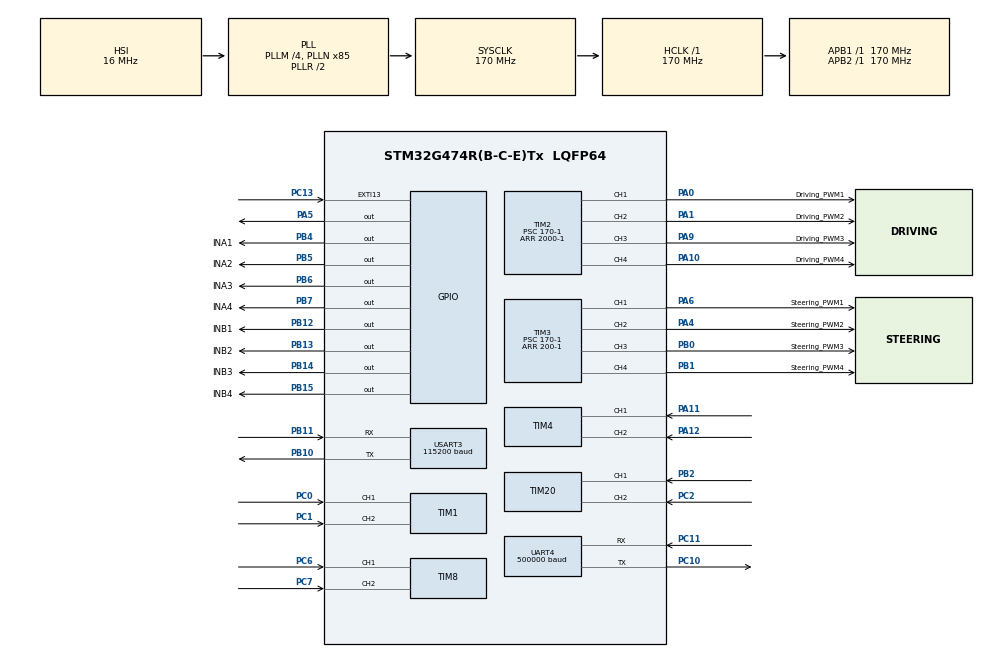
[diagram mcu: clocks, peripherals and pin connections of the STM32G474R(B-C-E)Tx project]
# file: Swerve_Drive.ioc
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Mcu.Family=STM32G4
Mcu.Name=STM32G474R(B-C-E)Tx
Mcu.Package=LQFP64
NUCLEO-G474RE.BUTTON=1
NUCLEO-G474RE.Bsp_Common_DEMO=true
NUCLEO-G474RE.LD2=true
NUCLEO-G474RE.VCP=true
NVIC.EXTI15_10_IRQn=true\:0\:0\:false\:false\:true\:true\:true\:true
NVIC.PriorityGroup=NVIC_PRIORITYGROUP_4
PA0.GPIO_Label=Driving_PWM1
PA0.Signal=S_TIM2_CH1
PA1.GPIO_Label=Driving_PWM2
PA1.Signal=S_TIM2_CH2
PA10.GPIO_Label=Driving_PWM4
PA10.Signal=S_TIM2_CH4
PA11.Signal=S_TIM4_CH1
PA12.Signal=S_TIM4_CH2
PA13.GPIO_Label=T_SWDIO
PA13.Signal=SYS_JTMS-SWDIO
PA14.GPIO_Label=T_SWCLK
PA14.Signal=SYS_JTCK-SWCLK
PA2.Signal=LPUART1_TX
PA3.Signal=LPUART1_RX
PA4.GPIO_Label=Steering_PWM2
PA4.Signal=S_TIM3_CH2
PA5.Signal=GPIO_Output
PA6.GPIO_Label=Steering_PWM1
PA6.Signal=S_TIM3_CH1
PA9.GPIO_Label=Driving_PWM3
PA9.Signal=S_TIM2_CH3
PB0.GPIO_Label=Steering_PWM3
PB0.Signal=S_TIM3_CH3
PB1.GPIO_Label=Steering_PWM4
PB1.Signal=S_TIM3_CH4
PB10.Mode=Asynchronous
PB10.Signal=USART3_TX
PB11.Mode=Asynchronous
PB11.Signal=USART3_RX
PB12.GPIO_Label=INB1
PB12.Signal=GPIO_Output
PB13.GPIO_Label=INB2
PB13.Signal=GPIO_Output
PB14.GPIO_Label=INB3
PB14.Signal=GPIO_Output
PB15.GPIO_Label=INB4
PB15.Signal=GPIO_Output
PB2.Signal=S_TIM20_CH1
PB3.GPIO_Label=T_SWO
PB3.Signal=SYS_JTDO-SWO
PB4.GPIO_Label=INA1
PB4.Signal=GPIO_Output
PB5.GPIO_Label=INA2
PB5.Signal=GPIO_Output
PB6.GPIO_Label=INA3
PB6.Signal=GPIO_Output
PB7.GPIO_Label=INA4
PB7.Signal=GPIO_Output
PC0.Signal=S_TIM1_CH1
PC1.Signal=S_TIM1_CH2
PC10.Mode=Asynchronous
PC10.Signal=UART4_TX
PC11.Mode=Asynchronous
PC11.Signal=UART4_RX
PC13.Signal=GPXTI13
PC14-OSC32_IN.GPIO_Label=RCC_OSC32_IN
PC14-OSC32_IN.Signal=RCC_OSC32_IN
PC15-OSC32_OUT.GPIO_Label=RCC_OSC32_OUT
PC15-OSC32_OUT.Signal=RCC_OSC32_OUT
PC2.Signal=S_TIM20_CH2
PC6.Signal=S_TIM8_CH1
PC7.Signal=S_TIM8_CH2
PF0-OSC_IN.GPIO_Label=RCC_OSC_IN
PF0-OSC_IN.Signal=RCC_OSC_IN
PF1-OSC_OUT.GPIO_Label=RCC_OSC_OUT
PF1-OSC_OUT.Signal=RCC_OSC_OUT
ProjectManager.HeapSize=0x200
ProjectManager.StackSize=0x400
ProjectManager.TargetToolchain=STM32CubeIDE
RCC.ADC12Freq_Value=170000000
RCC.ADC345Freq_Value=170000000
RCC.AHBFreq_Value=170000000
RCC.APB1Freq_Value=170000000
RCC.APB1TimFreq_Value=170000000
RCC.APB2Freq_Value=170000000
RCC.APB2TimFreq_Value=170000000
RCC.CortexFreq_Value=170000000
RCC.EXTERNAL_CLOCK_VALUE=12288000
RCC.HCLKFreq_Value=170000000
RCC.HSE_VALUE=24000000
RCC.HSI48_VALUE=48000000
RCC.HSI_VALUE=16000000
RCC.LSE_VALUE=32768
RCC.PLLM=RCC_PLLM_DIV4
RCC.PLLN=85
RCC.RTCClockSelection=RCC_RTCCLKSOURCE_LSE
RCC.SYSCLKFreq_VALUE=170000000
RCC.SYSCLKSource=RCC_SYSCLKSOURCE_PLLCLK
RCC.USBFreq_Value=170000000
RCC.VCOOutputFreq_Value=340000000
SH.S_TIM1_CH1.0=TIM1_CH1,Encoder_Interface
SH.S_TIM1_CH2.0=TIM1_CH2,Encoder_Interface
SH.S_TIM20_CH1.0=TIM20_CH1,Encoder_Interface
SH.S_TIM20_CH2.0=TIM20_CH2,Encoder_Interface
SH.S_TIM2_CH1.0=TIM2_CH1,PWM Generation1 CH1
SH.S_TIM2_CH2.0=TIM2_CH2,PWM Generation2 CH2
SH.S_TIM2_CH3.0=TIM2_CH3,PWM Generation3 CH3
SH.S_TIM2_CH4.0=TIM2_CH4,PWM Generation4 CH4
SH.S_TIM3_CH1.0=TIM3_CH1,PWM Generation1 CH1
SH.S_TIM3_CH2.0=TIM3_CH2,PWM Generation2 CH2
SH.S_TIM3_CH3.0=TIM3_CH3,PWM Generation3 CH3
SH.S_TIM3_CH4.0=TIM3_CH4,PWM Generation4 CH4
SH.S_TIM4_CH1.0=TIM4_CH1,Encoder_Interface
SH.S_TIM4_CH2.0=TIM4_CH2,Encoder_Interface
SH.S_TIM8_CH1.0=TIM8_CH1,Encoder_Interface
SH.S_TIM8_CH2.0=TIM8_CH2,Encoder_Interface
TIM1.IC1Filter=10
TIM1.IC2Filter=10
TIM2.Channel-PWM\ Generation1\ CH1=TIM_CHANNEL_1
TIM2.Channel-PWM\ Generation2\ CH2=TIM_CHANNEL_2
TIM2.Channel-PWM\ Generation3\ CH3=TIM_CHANNEL_3
TIM2.Channel-PWM\ Generation4\ CH4=TIM_CHANNEL_4
TIM2.PeriodNoDither=2000-1
TIM2.Prescaler=170-1
TIM2.PulseNoDither_1=1099
TIM2.PulseNoDither_2=1099
TIM2.PulseNoDither_3=1099
TIM2.PulseNoDither_4=1099
TIM20.IC1Filter=10
TIM20.IC2Filter=10
TIM3.Channel-PWM\ Generation1\ CH1=TIM_CHANNEL_1
TIM3.Channel-PWM\ Generation2\ CH2=TIM_CHANNEL_2
TIM3.Channel-PWM\ Generation3\ CH3=TIM_CHANNEL_3
TIM3.Channel-PWM\ Generation4\ CH4=TIM_CHANNEL_4
TIM3.PeriodNoDither=200-1
TIM3.Prescaler=170-1
TIM4.IC1Filter=10
TIM4.IC2Filter=10
TIM8.IC1Filter=10
TIM8.IC2Filter=10
UART4.BaudRate=500000
USART3.BaudRate=115200
USART3.VirtualMode-Asynchronous=VM_ASYNC
VP_NUCLEO-G474RE_VS_BSP_COMMON.Mode=COMMON
VP_SYS_VS_DBSignals.Mode=DisableDeadBatterySignals
VP_TIM2_VS_ClockSourceINT.Mode=Internal
VP_TIM3_VS_ClockSourceINT.Mode=Internal
board=NUCLEO-G474RE

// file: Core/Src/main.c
/* USER CODE BEGIN Header */
/**
  ******************************************************************************
  * @file           : main.c
  * @brief          : Main program body
  ******************************************************************************
  * @attention
  *
  * Copyright (c) 2025 STMicroelectronics.
  * All rights reserved.
  *
  * This software is licensed under terms that can be found in the LICENSE file
  * in the root directory of this software component.
  * If no LICENSE file comes with this software, it is provided AS-IS.
  *
  ******************************************************************************
  */
/* USER CODE END Header */
#include "main.h"

/* USER CODE BEGIN Includes */
#include "joystick.h"
#include "swerve_module.h"
#include "swerve_drive.h"
#include <math.h>
#include <stdbool.h>
/* USER CODE END Includes */

/* USER CODE BEGIN PD */
//#define DEBUG_PRINT
//#define TEST
/* USER CODE END PD */

COM_InitTypeDef BspCOMInit;
__IO uint32_t BspButtonState = BUTTON_RELEASED;
TIM_HandleTypeDef htim1;
TIM_HandleTypeDef htim2;
TIM_HandleTypeDef htim3;
TIM_HandleTypeDef htim4;
TIM_HandleTypeDef htim8;
TIM_HandleTypeDef htim20;

UART_HandleTypeDef huart4;
UART_HandleTypeDef huart3;

/* USER CODE BEGIN PV */
float xSpeed = 0.0f, ySpeed = 0.0f, rot = 0.0f;
uint32_t lastJoystickUpdate = 0;  // Store the last time we received valid joystick data
#define JOYSTICK_TIMEOUT_MS 500   // Timeout after 500ms of no data

bool lastButtonState;
bool throwState = false;
bool lastZalahState;
bool zalahState = false;
bool PASS_State = false;
bool ZALAH_State = false;
bool lastLockModeButtonState = false;
LockMode currentLockMode = LOCK_MODE_DISABLED;

// Swerve drive data structure
SwerveDriveData swerveData;
/* USER CODE END PV */

void SystemClock_Config(void);
static void MX_GPIO_Init(void);
static void MX_TIM1_Init(void);
static void MX_TIM2_Init(void);
static void MX_TIM4_Init(void);
static void MX_TIM3_Init(void);
static void MX_TIM8_Init(void);
static void MX_TIM20_Init(void);
static void MX_UART4_Init(void);
static void MX_USART3_UART_Init(void);
/* USER CODE BEGIN PFP */
void calibrate_motor()
{
    BSP_LED_Toggle(LED_GREEN);
    HAL_Delay(100);
    BSP_LED_Toggle(LED_GREEN);
    HAL_Delay(100);
    BSP_LED_On(LED_GREEN);
    // Send maximum throttle pulse for ESC calibration
    __HAL_TIM_SET_COMPARE(&htim2, TIM_CHANNEL_4, 1940-1);
    __HAL_TIM_SET_COMPARE(&htim2, TIM_CHANNEL_3, 1940-1);
    __HAL_TIM_SET_COMPARE(&htim2, TIM_CHANNEL_2, 1940-1);
    __HAL_TIM_SET_COMPARE(&htim2, TIM_CHANNEL_1, 1940-1);

    HAL_Delay(9000);  // Wait 2 seconds (adjust as needed)

    BSP_LED_Toggle(LED_GREEN);
    HAL_Delay(100);
    BSP_LED_Toggle(LED_GREEN);
    HAL_Delay(100);
    BSP_LED_On(LED_GREEN);
    // Then send minimum throttle pulse to complete calibration
    __HAL_TIM_SET_COMPARE(&htim2, TIM_CHANNEL_4, 1100-1);
    __HAL_TIM_SET_COMPARE(&htim2, TIM_CHANNEL_3, 1100-1);
    __HAL_TIM_SET_COMPARE(&htim2, TIM_CHANNEL_2, 1100-1);
    __HAL_TIM_SET_COMPARE(&htim2, TIM_CHANNEL_1, 1100-1);
    HAL_Delay(8000);

    BSP_LED_Toggle(LED_GREEN);
    HAL_Delay(100);
    BSP_LED_Toggle(LED_GREEN);
    HAL_Delay(100);
    BSP_LED_Off(LED_GREEN);
}
/* USER CODE END PFP */

int main(void)
{

  /* USER CODE BEGIN 1 */
  SwerveModule moduleRB = {	// Configuration moduleRF
		  .steering = {
		      .dira_gpio_port = INA3_GPIO_Port,
		      .dira_gpio_pin = INA3_Pin,
			  .dirb_gpio_port = INB3_GPIO_Port,
			  .dirb_gpio_pin = INB3_Pin,
		      .pwm_tim = &htim3,
		      .pwm_channel = TIM_CHANNEL_3,
	        .encoder_tim = &htim8,
		      .Kp = 5.0f,        // Increased from 2.5f
		      .Ki = 0.2f,        // Increased from 0.1f
		      .Kd = 0.02f,       // Increased from 0.01f
		      .integral_limit = 500.0f,
		      .dt = 0.05f,
			  .max_pwm = 199     // Maximum PWM value
		  },
		  .driving = {
		      .pwm_tim = &htim2,
		      .pwm_channel = TIM_CHANNEL_4,
		      .min_pulse = 1110-1,
		      .max_pulse = 1400-1,
		      .arming_pulse = 1100-1
		  },
		  .counts_per_degree = ROBOT_STEERING_GEAR_RATIO / (float)(STEERING_ENCODER_RESOLUTION * 8) // Adjust based on encoder
  };

  SwerveModule moduleLB = {	// Configuration moduleRF
	  .steering = {
	      .dira_gpio_port = INA4_GPIO_Port,
	      .dira_gpio_pin = INA4_Pin,
		  .dirb_gpio_port = INB4_GPIO_Port,
		  .dirb_gpio_pin = INB4_Pin,
	      .pwm_tim = &htim3,
	      .pwm_channel = TIM_CHANNEL_4,
          .encoder_tim = &htim20,
	      .Kp = 5.0f,        // Increased from 2.5f
	      .Ki = 0.2f,        // Increased from 0.1f
	      .Kd = 0.02f,       // Increased from 0.01f
	      .integral_limit = 500.0f,
	      .dt = 0.05f,
		  .max_pwm = 199     // Maximum PWM value
	  },
	  .driving = {
	      .pwm_tim = &htim2,
	      .pwm_channel = TIM_CHANNEL_2,
	      .min_pulse = 1110-1,
	      .max_pulse = 1400-1,
	      .arming_pulse = 1100-1
	  },
	  .counts_per_degree = ROBOT_STEERING_GEAR_RATIO / (float)(STEERING_ENCODER_RESOLUTION * 8) // Adjust based on encoder
  };

  SwerveModule moduleRF = {	// Configuration moduleRF
	  .steering = {
	      .dira_gpio_port = INA1_GPIO_Port,
	      .dira_gpio_pin = INA1_Pin,
	      .dirb_gpio_port = INB1_GPIO_Port,
	      .dirb_gpio_pin = INB1_Pin,
	      .pwm_tim = &htim3,
	      .pwm_channel = TIM_CHANNEL_1,
          .encoder_tim = &htim1,
		  .Kp = 5.0f,        // Increased from 2.5f
		  .Ki = 0.2f,        // Increased from 0.1f
		  .Kd = 0.02f,       // Increased from 0.01f
	      .integral_limit = 500.0f,
	      .dt = 0.05f,
		  .max_pwm = 199     // Maximum PWM value
	  },
	  .driving = {
	      .pwm_tim = &htim2,
	      .pwm_channel = TIM_CHANNEL_3,
	      .min_pulse = 1110-1,
	      .max_pulse = 1400-1,
	      .arming_pulse = 1100-1
	  },
	  .counts_per_degree = ROBOT_STEERING_GEAR_RATIO / (float)(STEERING_ENCODER_RESOLUTION * 8) // Adjust based on encoder
  };

  SwerveModule moduleLF = {	// Configuration moduleRF
		  .steering = {
		      .dira_gpio_port = INA2_GPIO_Port,
		      .dira_gpio_pin = INA2_Pin,
		      .dirb_gpio_port = INB2_GPIO_Port,
		      .dirb_gpio_pin = INB2_Pin,
		      .pwm_tim = &htim3,
		      .pwm_channel = TIM_CHANNEL_2,
	          .encoder_tim = &htim4,
		      .Kp = 5.0f,        // Increased from 5.0f (already high)
		      .Ki = 0.2f,        // Increased from 0.1f
		      .Kd = 0.02f,       // Increased from 0.01f
		      .integral_limit = 500.0f,
		      .dt = 0.05f,
			  .max_pwm = 199     // Maximum PWM value
		  },
		  .driving = {
		      .pwm_tim = &htim2,
		      .pwm_channel = TIM_CHANNEL_1,
		      .min_pulse = 1110-1,
		      .max_pulse = 1400-1,
		      .arming_pulse = 1100-1
		  },
		  .counts_per_degree = ROBOT_STEERING_GEAR_RATIO / (float)(STEERING_ENCODER_RESOLUTION * 8) // Adjust based on encoder
  };
  /* USER CODE END 1 */

  /* MCU Configuration--------------------------------------------------------*/

  /* Reset of all peripherals, Initializes the Flash interface and the Systick. */
  HAL_Init();

  /* USER CODE BEGIN Init */
  JOYSTICK_Init(&huart4);  // Pass your UART handle
  JOYSTICK_SetTimeout(100); // Optional: Set custom timeout
  /* USER CODE END Init */

  /* Configure the system clock */
  SystemClock_Config();

  /* Initialize all configured peripherals */
  MX_GPIO_Init();
  MX_TIM1_Init();
  MX_TIM2_Init();
  MX_TIM4_Init();
  MX_TIM3_Init();
  MX_TIM8_Init();
  MX_TIM20_Init();
  MX_UART4_Init();
  MX_USART3_UART_Init();
  /* USER CODE BEGIN 2 */
  // Initialize swerve drive
  SD_Init();
  SD_SetLockMode(LOCK_MODE_45_DEG);

  // Initialize swerve modules
  SM_Init(&moduleRF);
  SM_Init(&moduleLF);
  SM_Init(&moduleRB);
  SM_Init(&moduleLB);
  /* USER CODE END 2 */

  /* Initialize led */
  BSP_LED_Init(LED_GREEN);

  /* Initialize USER push-button, will be used to trigger an interrupt each time it's pressed.*/
  BSP_PB_Init(BUTTON_USER, BUTTON_MODE_EXTI);

  /* Initialize COM1 port (115200, 8 bits (7-bit data + 1 stop bit), no parity */
  BspCOMInit.BaudRate   = 115200;
  BspCOMInit.WordLength = COM_WORDLENGTH_8B;
  BspCOMInit.StopBits   = COM_STOPBITS_1;
  BspCOMInit.Parity     = COM_PARITY_NONE;
  BspCOMInit.HwFlowCtl  = COM_HWCONTROL_NONE;
  if (BSP_COM_Init(COM1, &BspCOMInit) != BSP_ERROR_NONE)
  {
    Error_Handler();
  }

  /* USER CODE BEGIN BSP */

  /* -- Sample board code to send message over COM1 port ---- */
  printf("Swerve Drive Robot Initialized\n");
  /* -- Sample board code to switch on led ---- */
  BSP_LED_On(LED_GREEN);

  /* USER CODE END BSP */

  /* Infinite loop */
  /* USER CODE BEGIN WHILE */
  while (1)
  {
	    /* -- Sample board code for User push-button in interrupt mode ---- */
	    if (BspButtonState == BUTTON_PRESSED)
	    {
	      /* Update button state */
	      BspButtonState = BUTTON_RELEASED;
	      /* -- Sample board code to toggle led ---- */
	      BSP_LED_Toggle(LED_GREEN);

	      calibrate_motor();
	    }
        JOYSTICK_Process();

        // Check for joystick timeout
        if (HAL_GetTick() - lastJoystickUpdate > JOYSTICK_TIMEOUT_MS) {
            // Reset all control values when joystick times out
            xSpeed = 0.0f;
            ySpeed = 0.0f;
            rot = 0.0f;

            // Update kinematics with zero values
            SD_UpdateKinematics(xSpeed, ySpeed, rot, &swerveData);
            SD_UpdateModules(&swerveData, &moduleRF, &moduleLF, &moduleRB, &moduleLB);
        }
        // Normal joystick control code
        else if (JOYSTICK_NewDataAvailable()) {
            JoystickData data = JOYSTICK_GetData();
            lastJoystickUpdate = HAL_GetTick();  // Reset timeout timer

            // Scale joystick inputs to [-1, 1] range with deadband
            xSpeed = -(float)data.axisX / 512.0f;
            ySpeed = (float)data.axisY / 512.0f;
            rot = (float)data.axisRX / 512.0f;

            // Apply deadband to prevent drift
            SD_ApplyDeadband(&xSpeed, &ySpeed, &rot);

//            printf("X: %f, Y: %f, Rot: %f\n", xSpeed, ySpeed, rot);
//            printf("Buttons (Hex): 0x%04X\n", data.buttons);

            // Handle lock mode toggle (using button 0x0010)
            bool currentLockModeButtonState = (data.buttons & 0x0010) != 0;
            if (currentLockModeButtonState && !lastLockModeButtonState) {
                // Toggle through lock modes
                currentLockMode = (currentLockMode + 1) % 3;  // Cycle through 0, 1, 2
                SD_SetLockMode(currentLockMode);
                printf("Lock mode changed to: %d\n", currentLockMode);
            }
            lastLockModeButtonState = currentLockModeButtonState;

            // Update kinematics and modules
            SD_UpdateKinematics(xSpeed, ySpeed, rot, &swerveData);
            SD_UpdateModules(&swerveData, &moduleRF, &moduleLF, &moduleRB, &moduleLB);
        }

//        // Check encoder data
//        SM_GetCurrentAngle(&moduleRF);
//        SM_GetCurrentAngle(&moduleLF);
//        SM_GetCurrentAngle(&moduleRB);
//        SM_GetCurrentAngle(&moduleLB);
//        printf("\r\n");

//        HAL_GPIO_WritePin(moduleRF.steering.dira_gpio_port, moduleRF.steering.dira_gpio_pin, 0);
//        HAL_GPIO_WritePin(moduleRF.steering.dirb_gpio_port, moduleRF.steering.dirb_gpio_pin, 1);
//        __HAL_TIM_SET_COMPARE(moduleRF.steering.pwm_tim, moduleRF.steering.pwm_channel, (uint16_t)30);
//        printf("here\n");
//        HAL_Delay(1000);

        /*
         *steering motor hurd nemj hugtsaag bagsgah
        encoder timer aldaad bn ylanguya 4. Hulhi omron baij magdgu omron solij uzej bolno
        tged validate data bnu gedgiig shalgaj uzeh
        tgku bol subsystem 2 avtomataar ajilaad bn
        swerve baga zereg smooth bolgoh

        tged zalah garj irsen tohioldold zaldag button dahiad darval motor irgdeg nohtsol tavih
         catapult ayulgui ajilgaag hangah davhar nohtsol hynah

         sensor tavij zarim zuilsiig automation juulah
         button evteihen bolgoh
         */

    /* USER CODE END WHILE */

    /* USER CODE BEGIN 3 */
        HAL_Delay(10);
  }
  /* USER CODE END 3 */
}

void SystemClock_Config(void)
{
  RCC_OscInitTypeDef RCC_OscInitStruct = {0};
  RCC_ClkInitTypeDef RCC_ClkInitStruct = {0};

  /** Configure the main internal regulator output voltage
  */
  HAL_PWREx_ControlVoltageScaling(PWR_REGULATOR_VOLTAGE_SCALE1_BOOST);

  /** Initializes the RCC Oscillators according to the specified parameters
  * in the RCC_OscInitTypeDef structure.
  */
  RCC_OscInitStruct.OscillatorType = RCC_OSCILLATORTYPE_HSI;
  RCC_OscInitStruct.HSIState = RCC_HSI_ON;
  RCC_OscInitStruct.HSICalibrationValue = RCC_HSICALIBRATION_DEFAULT;
  RCC_OscInitStruct.PLL.PLLState = RCC_PLL_ON;
  RCC_OscInitStruct.PLL.PLLSource = RCC_PLLSOURCE_HSI;
  RCC_OscInitStruct.PLL.PLLM = RCC_PLLM_DIV4;
  RCC_OscInitStruct.PLL.PLLN = 85;
  RCC_OscInitStruct.PLL.PLLP = RCC_PLLP_DIV2;
  RCC_OscInitStruct.PLL.PLLQ = RCC_PLLQ_DIV2;
  RCC_OscInitStruct.PLL.PLLR = RCC_PLLR_DIV2;
  if (HAL_RCC_OscConfig(&RCC_OscInitStruct) != HAL_OK)
  {
    Error_Handler();
  }

  /** Initializes the CPU, AHB and APB buses clocks
  */
  RCC_ClkInitStruct.ClockType = RCC_CLOCKTYPE_HCLK|RCC_CLOCKTYPE_SYSCLK
                              |RCC_CLOCKTYPE_PCLK1|RCC_CLOCKTYPE_PCLK2;
  RCC_ClkInitStruct.SYSCLKSource = RCC_SYSCLKSOURCE_PLLCLK;
  RCC_ClkInitStruct.AHBCLKDivider = RCC_SYSCLK_DIV1;
  RCC_ClkInitStruct.APB1CLKDivider = RCC_HCLK_DIV1;
  RCC_ClkInitStruct.APB2CLKDivider = RCC_HCLK_DIV1;

  if (HAL_RCC_ClockConfig(&RCC_ClkInitStruct, FLASH_LATENCY_4) != HAL_OK)
  {
    Error_Handler();
  }
}

static void MX_TIM1_Init(void)
{

  TIM_Encoder_InitTypeDef sConfig = {0};
  TIM_MasterConfigTypeDef sMasterConfig = {0};

  htim1.Instance = TIM1;
  htim1.Init.Prescaler = 0;
  htim1.Init.CounterMode = TIM_COUNTERMODE_UP;
  htim1.Init.Period = 65535;
  htim1.Init.ClockDivision = TIM_CLOCKDIVISION_DIV1;
  htim1.Init.RepetitionCounter = 0;
  htim1.Init.AutoReloadPreload = TIM_AUTORELOAD_PRELOAD_DISABLE;
  sConfig.EncoderMode = TIM_ENCODERMODE_TI1;
  sConfig.IC1Polarity = TIM_ICPOLARITY_RISING;
  sConfig.IC1Selection = TIM_ICSELECTION_DIRECTTI;
  sConfig.IC1Prescaler = TIM_ICPSC_DIV1;
  sConfig.IC1Filter = 10;
  sConfig.IC2Polarity = TIM_ICPOLARITY_RISING;
  sConfig.IC2Selection = TIM_ICSELECTION_DIRECTTI;
  sConfig.IC2Prescaler = TIM_ICPSC_DIV1;
  sConfig.IC2Filter = 10;
  if (HAL_TIM_Encoder_Init(&htim1, &sConfig) != HAL_OK)
  {
    Error_Handler();
  }
  sMasterConfig.MasterOutputTrigger = TIM_TRGO_RESET;
  sMasterConfig.MasterOutputTrigger2 = TIM_TRGO2_RESET;
  sMasterConfig.MasterSlaveMode = TIM_MASTERSLAVEMODE_DISABLE;
  if (HAL_TIMEx_MasterConfigSynchronization(&htim1, &sMasterConfig) != HAL_OK)
  {
    Error_Handler();
  }

}

static void MX_TIM2_Init(void)
{

  TIM_ClockConfigTypeDef sClockSourceConfig = {0};
  TIM_MasterConfigTypeDef sMasterConfig = {0};
  TIM_OC_InitTypeDef sConfigOC = {0};

  htim2.Instance = TIM2;
  htim2.Init.Prescaler = 170-1;
  htim2.Init.CounterMode = TIM_COUNTERMODE_UP;
  htim2.Init.Period = 1999;
  htim2.Init.ClockDivision = TIM_CLOCKDIVISION_DIV1;
  htim2.Init.AutoReloadPreload = TIM_AUTORELOAD_PRELOAD_DISABLE;
  if (HAL_TIM_Base_Init(&htim2) != HAL_OK)
  {
    Error_Handler();
  }
  sClockSourceConfig.ClockSource = TIM_CLOCKSOURCE_INTERNAL;
  if (HAL_TIM_ConfigClockSource(&htim2, &sClockSourceConfig) != HAL_OK)
  {
    Error_Handler();
  }
  if (HAL_TIM_PWM_Init(&htim2) != HAL_OK)
  {
    Error_Handler();
  }
  sMasterConfig.MasterOutputTrigger = TIM_TRGO_RESET;
  sMasterConfig.MasterSlaveMode = TIM_MASTERSLAVEMODE_DISABLE;
  if (HAL_TIMEx_MasterConfigSynchronization(&htim2, &sMasterConfig) != HAL_OK)
  {
    Error_Handler();
  }
  sConfigOC.OCMode = TIM_OCMODE_PWM1;
  sConfigOC.Pulse = 1099;
  sConfigOC.OCPolarity = TIM_OCPOLARITY_HIGH;
  sConfigOC.OCFastMode = TIM_OCFAST_DISABLE;
  if (HAL_TIM_PWM_ConfigChannel(&htim2, &sConfigOC, TIM_CHANNEL_1) != HAL_OK)
  {
    Error_Handler();
  }
  if (HAL_TIM_PWM_ConfigChannel(&htim2, &sConfigOC, TIM_CHANNEL_2) != HAL_OK)
  {
    Error_Handler();
  }
  if (HAL_TIM_PWM_ConfigChannel(&htim2, &sConfigOC, TIM_CHANNEL_3) != HAL_OK)
  {
    Error_Handler();
  }
  if (HAL_TIM_PWM_ConfigChannel(&htim2, &sConfigOC, TIM_CHANNEL_4) != HAL_OK)
  {
    Error_Handler();
  }
  HAL_TIM_MspPostInit(&htim2);

}

static void MX_TIM3_Init(void)
{

  TIM_ClockConfigTypeDef sClockSourceConfig = {0};
  TIM_MasterConfigTypeDef sMasterConfig = {0};
  TIM_OC_InitTypeDef sConfigOC = {0};

  htim3.Instance = TIM3;
  htim3.Init.Prescaler = 85-1;  // Reduced from 170-1 to increase frequency
  htim3.Init.CounterMode = TIM_COUNTERMODE_UP;
  htim3.Init.Period = 100-1;    // Reduced from 200-1 to increase frequency
  htim3.Init.ClockDivision = TIM_CLOCKDIVISION_DIV1;
  htim3.Init.AutoReloadPreload = TIM_AUTORELOAD_PRELOAD_DISABLE;
  if (HAL_TIM_Base_Init(&htim3) != HAL_OK)
  {
    Error_Handler();
  }
  sClockSourceConfig.ClockSource = TIM_CLOCKSOURCE_INTERNAL;
  if (HAL_TIM_ConfigClockSource(&htim3, &sClockSourceConfig) != HAL_OK)
  {
    Error_Handler();
  }
  if (HAL_TIM_PWM_Init(&htim3) != HAL_OK)
  {
    Error_Handler();
  }
  sMasterConfig.MasterOutputTrigger = TIM_TRGO_RESET;
  sMasterConfig.MasterSlaveMode = TIM_MASTERSLAVEMODE_DISABLE;
  if (HAL_TIMEx_MasterConfigSynchronization(&htim3, &sMasterConfig) != HAL_OK)
  {
    Error_Handler();
  }
  sConfigOC.OCMode = TIM_OCMODE_PWM1;
  sConfigOC.Pulse = 0;
  sConfigOC.OCPolarity = TIM_OCPOLARITY_HIGH;
  sConfigOC.OCFastMode = TIM_OCFAST_DISABLE;
  if (HAL_TIM_PWM_ConfigChannel(&htim3, &sConfigOC, TIM_CHANNEL_1) != HAL_OK)
  {
    Error_Handler();
  }
  if (HAL_TIM_PWM_ConfigChannel(&htim3, &sConfigOC, TIM_CHANNEL_2) != HAL_OK)
  {
    Error_Handler();
  }
  if (HAL_TIM_PWM_ConfigChannel(&htim3, &sConfigOC, TIM_CHANNEL_3) != HAL_OK)
  {
    Error_Handler();
  }
  if (HAL_TIM_PWM_ConfigChannel(&htim3, &sConfigOC, TIM_CHANNEL_4) != HAL_OK)
  {
    Error_Handler();
  }
  HAL_TIM_MspPostInit(&htim3);

}

static void MX_TIM4_Init(void)
{

  TIM_Encoder_InitTypeDef sConfig = {0};
  TIM_MasterConfigTypeDef sMasterConfig = {0};

  htim4.Instance = TIM4;
  htim4.Init.Prescaler = 0;
  htim4.Init.CounterMode = TIM_COUNTERMODE_UP;
  htim4.Init.Period = 65535;
  htim4.Init.ClockDivision = TIM_CLOCKDIVISION_DIV1;
  htim4.Init.AutoReloadPreload = TIM_AUTORELOAD_PRELOAD_DISABLE;
  sConfig.EncoderMode = TIM_ENCODERMODE_TI1;
  sConfig.IC1Polarity = TIM_ICPOLARITY_RISING;
  sConfig.IC1Selection = TIM_ICSELECTION_DIRECTTI;
  sConfig.IC1Prescaler = TIM_ICPSC_DIV1;
  sConfig.IC1Filter = 10;
  sConfig.IC2Polarity = TIM_ICPOLARITY_RISING;
  sConfig.IC2Selection = TIM_ICSELECTION_DIRECTTI;
  sConfig.IC2Prescaler = TIM_ICPSC_DIV1;
  sConfig.IC2Filter = 10;
  if (HAL_TIM_Encoder_Init(&htim4, &sConfig) != HAL_OK)
  {
    Error_Handler();
  }
  sMasterConfig.MasterOutputTrigger = TIM_TRGO_RESET;
  sMasterConfig.MasterSlaveMode = TIM_MASTERSLAVEMODE_DISABLE;
  if (HAL_TIMEx_MasterConfigSynchronization(&htim4, &sMasterConfig) != HAL_OK)
  {
    Error_Handler();
  }

}

static void MX_TIM8_Init(void)
{

  TIM_Encoder_InitTypeDef sConfig = {0};
  TIM_MasterConfigTypeDef sMasterConfig = {0};

  htim8.Instance = TIM8;
  htim8.Init.Prescaler = 0;
  htim8.Init.CounterMode = TIM_COUNTERMODE_UP;
  htim8.Init.Period = 65535;
  htim8.Init.ClockDivision = TIM_CLOCKDIVISION_DIV1;
  htim8.Init.RepetitionCounter = 0;
  htim8.Init.AutoReloadPreload = TIM_AUTORELOAD_PRELOAD_DISABLE;
  sConfig.EncoderMode = TIM_ENCODERMODE_TI1;
  sConfig.IC1Polarity = TIM_ICPOLARITY_RISING;
  sConfig.IC1Selection = TIM_ICSELECTION_DIRECTTI;
  sConfig.IC1Prescaler = TIM_ICPSC_DIV1;
  sConfig.IC1Filter = 10;
  sConfig.IC2Polarity = TIM_ICPOLARITY_RISING;
  sConfig.IC2Selection = TIM_ICSELECTION_DIRECTTI;
  sConfig.IC2Prescaler = TIM_ICPSC_DIV1;
  sConfig.IC2Filter = 10;
  if (HAL_TIM_Encoder_Init(&htim8, &sConfig) != HAL_OK)
  {
    Error_Handler();
  }
  sMasterConfig.MasterOutputTrigger = TIM_TRGO_RESET;
  sMasterConfig.MasterOutputTrigger2 = TIM_TRGO2_RESET;
  sMasterConfig.MasterSlaveMode = TIM_MASTERSLAVEMODE_DISABLE;
  if (HAL_TIMEx_MasterConfigSynchronization(&htim8, &sMasterConfig) != HAL_OK)
  {
    Error_Handler();
  }

}

static void MX_TIM20_Init(void)
{

  TIM_Encoder_InitTypeDef sConfig = {0};
  TIM_MasterConfigTypeDef sMasterConfig = {0};

  htim20.Instance = TIM20;
  htim20.Init.Prescaler = 0;
  htim20.Init.CounterMode = TIM_COUNTERMODE_UP;
  htim20.Init.Period = 65535;
  htim20.Init.ClockDivision = TIM_CLOCKDIVISION_DIV1;
  htim20.Init.RepetitionCounter = 0;
  htim20.Init.AutoReloadPreload = TIM_AUTORELOAD_PRELOAD_DISABLE;
  sConfig.EncoderMode = TIM_ENCODERMODE_TI1;
  sConfig.IC1Polarity = TIM_ICPOLARITY_RISING;
  sConfig.IC1Selection = TIM_ICSELECTION_DIRECTTI;
  sConfig.IC1Prescaler = TIM_ICPSC_DIV1;
  sConfig.IC1Filter = 10;
  sConfig.IC2Polarity = TIM_ICPOLARITY_RISING;
  sConfig.IC2Selection = TIM_ICSELECTION_DIRECTTI;
  sConfig.IC2Prescaler = TIM_ICPSC_DIV1;
  sConfig.IC2Filter = 10;
  if (HAL_TIM_Encoder_Init(&htim20, &sConfig) != HAL_OK)
  {
    Error_Handler();
  }
  sMasterConfig.MasterOutputTrigger = TIM_TRGO_RESET;
  sMasterConfig.MasterOutputTrigger2 = TIM_TRGO2_RESET;
  sMasterConfig.MasterSlaveMode = TIM_MASTERSLAVEMODE_DISABLE;
  if (HAL_TIMEx_MasterConfigSynchronization(&htim20, &sMasterConfig) != HAL_OK)
  {
    Error_Handler();
  }

}

static void MX_UART4_Init(void)
{

  huart4.Instance = UART4;
  huart4.Init.BaudRate = 500000;
  huart4.Init.WordLength = UART_WORDLENGTH_8B;
  huart4.Init.StopBits = UART_STOPBITS_1;
  huart4.Init.Parity = UART_PARITY_NONE;
  huart4.Init.Mode = UART_MODE_TX_RX;
  huart4.Init.HwFlowCtl = UART_HWCONTROL_NONE;
  huart4.Init.OverSampling = UART_OVERSAMPLING_16;
  huart4.Init.OneBitSampling = UART_ONE_BIT_SAMPLE_DISABLE;
  huart4.Init.ClockPrescaler = UART_PRESCALER_DIV1;
  huart4.AdvancedInit.AdvFeatureInit = UART_ADVFEATURE_NO_INIT;
  if (HAL_UART_Init(&huart4) != HAL_OK)
  {
    Error_Handler();
  }
  if (HAL_UARTEx_SetTxFifoThreshold(&huart4, UART_TXFIFO_THRESHOLD_1_8) != HAL_OK)
  {
    Error_Handler();
  }
  if (HAL_UARTEx_SetRxFifoThreshold(&huart4, UART_RXFIFO_THRESHOLD_1_8) != HAL_OK)
  {
    Error_Handler();
  }
  if (HAL_UARTEx_DisableFifoMode(&huart4) != HAL_OK)
  {
    Error_Handler();
  }

}

static void MX_USART3_UART_Init(void)
{

  huart3.Instance = USART3;
  huart3.Init.BaudRate = 115200;
  huart3.Init.WordLength = UART_WORDLENGTH_8B;
  huart3.Init.StopBits = UART_STOPBITS_1;
  huart3.Init.Parity = UART_PARITY_NONE;
  huart3.Init.Mode = UART_MODE_TX_RX;
  huart3.Init.HwFlowCtl = UART_HWCONTROL_NONE;
  huart3.Init.OverSampling = UART_OVERSAMPLING_16;
  huart3.Init.OneBitSampling = UART_ONE_BIT_SAMPLE_DISABLE;
  huart3.Init.ClockPrescaler = UART_PRESCALER_DIV1;
  huart3.AdvancedInit.AdvFeatureInit = UART_ADVFEATURE_NO_INIT;
  if (HAL_UART_Init(&huart3) != HAL_OK)
  {
    Error_Handler();
  }
  if (HAL_UARTEx_SetTxFifoThreshold(&huart3, UART_TXFIFO_THRESHOLD_1_8) != HAL_OK)
  {
    Error_Handler();
  }
  if (HAL_UARTEx_SetRxFifoThreshold(&huart3, UART_RXFIFO_THRESHOLD_1_8) != HAL_OK)
  {
    Error_Handler();
  }
  if (HAL_UARTEx_DisableFifoMode(&huart3) != HAL_OK)
  {
    Error_Handler();
  }

}

static void MX_GPIO_Init(void)
{
  GPIO_InitTypeDef GPIO_InitStruct = {0};

  /* GPIO Ports Clock Enable */
  __HAL_RCC_GPIOC_CLK_ENABLE();
  __HAL_RCC_GPIOF_CLK_ENABLE();
  __HAL_RCC_GPIOA_CLK_ENABLE();
  __HAL_RCC_GPIOB_CLK_ENABLE();

  /*Configure GPIO pin Output Level */
  HAL_GPIO_WritePin(GPIOB, INB1_Pin|INB2_Pin|INB3_Pin|INB4_Pin
                          |INA1_Pin|INA2_Pin|INA3_Pin|INA4_Pin, GPIO_PIN_RESET);

  /*Configure GPIO pins : INB1_Pin INB2_Pin INB3_Pin INB4_Pin
                           INA1_Pin INA2_Pin INA3_Pin INA4_Pin */
  GPIO_InitStruct.Pin = INB1_Pin|INB2_Pin|INB3_Pin|INB4_Pin
                          |INA1_Pin|INA2_Pin|INA3_Pin|INA4_Pin;
  GPIO_InitStruct.Mode = GPIO_MODE_OUTPUT_PP;
  GPIO_InitStruct.Pull = GPIO_NOPULL;
  GPIO_InitStruct.Speed = GPIO_SPEED_FREQ_LOW;
  HAL_GPIO_Init(GPIOB, &GPIO_InitStruct);

/* USER CODE BEGIN MX_GPIO_Init_2 */
//  // Replace existing motor pin configurations with:
//  GPIO_InitStruct.Mode = GPIO_MODE_AF_PP;
//  GPIO_InitStruct.Alternate = GPIO_AFx_TIMx; // Use correct AF for each timer
//  GPIO_InitStruct.Pull = GPIO_NOPULL;
//  GPIO_InitStruct.Speed = GPIO_SPEED_FREQ_HIGH;
/* USER CODE END MX_GPIO_Init_2 */
}

/**
  * @brief BSP Push Button callback
  * @param Button Specifies the pressed button
  * @retval None
  */
void BSP_PB_Callback(Button_TypeDef Button)
{
  if (Button == BUTTON_USER)
  {
    BspButtonState = BUTTON_PRESSED;
  }
}

void Error_Handler(void)
{
  __disable_irq();
  while (1)
  {
  }
}
